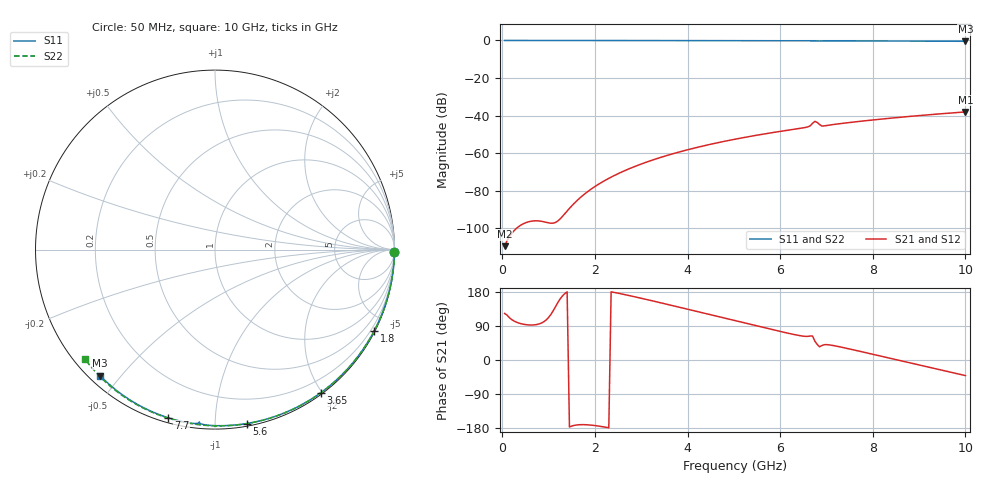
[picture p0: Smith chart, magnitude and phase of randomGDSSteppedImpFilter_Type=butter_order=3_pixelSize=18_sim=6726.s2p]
! freq	dB(S11)	phase(S11)	dB(S12)	phase(S12)
!  dB(S21)	phase(S21)	dB(S22)	phase(S22)
!S-par simulation data
#  GHz  S  DB  R 50
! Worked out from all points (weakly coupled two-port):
!   200 points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, 50 MHz to 10 GHz, reference 50 ohm
!   highest |S21| = -38.08 dB at 10 GHz (marker M1); lowest = -109.6 dB at 50 MHz (marker M2)
!   lowest |S11| = -0.4 dB at 10 GHz (marker M3), VSWR 39.18, Z = 1.53 - j22.1 ohm
!   |S11| at or under -10 dB: nowhere
!   |S22| runs from -0.5 to 0.0 dB; largest |S21 - S12| = 0
!   S11 on the Smith chart (normalised r, x): 50 MHz: open; 1.8 GHz: 0.04, -4.16; 3.65 GHz: 0.02, -1.98; 5.6 GHz: 0.02, -1.20; 7.7 GHz: 0.02, -0.76; 10 GHz: 0.03, -0.44
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0.05  -0.00 -0.8  -109.60 122.8  -109.60 122.8  -0.00 -0.8
0.85  -0.01 -12.9  -96.36 97.8  -96.36 97.8  -0.01 -13.7
1.75  -0.03 -26.3  -82.34 -170.6  -82.34 -170.6  -0.04 -27.9
1.8  -0.03 -27.0  -81.35 -170.7  -81.35 -170.7  -0.04 -28.7
1.85  -0.04 -27.8  -80.41 -171.1  -80.41 -171.1  -0.04 -29.5
1.9  -0.04 -28.5  -79.51 -171.6  -79.51 -171.6  -0.04 -30.2
2.25  -0.04 -33.6  -74.12 -177.8  -74.12 -177.8  -0.05 -35.7
2.65  -0.05 -39.4  -69.29 172.4  -69.29 172.4  -0.05 -41.8
3  -0.06 -44.4  -65.83 162.9  -65.83 162.9  -0.06 -47.1
3.4  -0.07 -50.1  -62.45 151.6  -62.45 151.6  -0.07 -53.1
3.65  -0.07 -53.6  -60.60 144.3  -60.60 144.3  -0.08 -56.8
4.3  -0.09 -62.5  -56.42 125.2  -56.42 125.2  -0.09 -66.2
5.05  -0.11 -72.5  -52.49 103.0  -52.49 103.0  -0.12 -76.7
5.6  -0.13 -79.7  -50.05 86.9  -50.05 86.9  -0.14 -84.2
6.55  -0.18 -91.8  -46.32 62.4  -46.32 62.4  -0.18 -96.9
6.65  -0.19 -93.1  -45.45 63.3  -45.45 63.3  -0.19 -98.2
6.7  -0.21 -93.7  -44.11 63.2  -44.11 63.2  -0.20 -98.8
6.75  -0.22 -94.4  -43.10 49.6  -43.10 49.6  -0.21 -99.4
6.9  -0.25 -95.5  -45.61 38.1  -45.61 38.1  -0.20 -101.4
7.7  -0.24 -105.5  -43.15 23.6  -43.15 23.6  -0.26 -111.5
8.35  -0.29 -113.2  -41.49 5.3  -41.49 5.3  -0.31 -119.6
10  -0.44 -132.3  -38.08 -41.1  -38.08 -41.1  -0.47 -139.9
